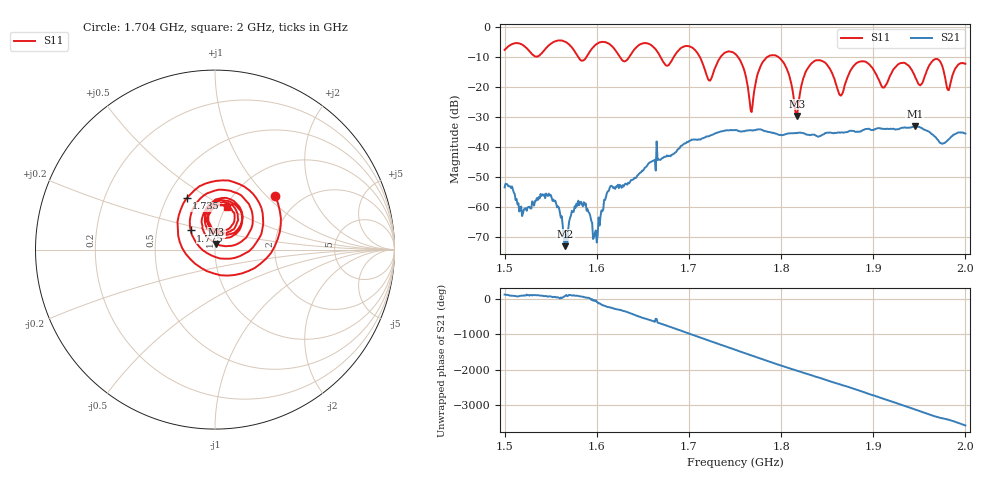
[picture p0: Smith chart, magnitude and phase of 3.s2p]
! NanoVNA-App by SYSJOINT et al v1.1.209 (+OD18)
! Date: 2026-01-21 14:44:47
! Start: 1,5GHz Stop: 2GHz Points: 501
! S-Parameter data: F S11 S21 S12 S22
# Hz S RI R 50
!  Frequency  S11_Real  S11_Imag  S21_Real  S21_Imag  S12_Real  S12_Imag  S22_Real  S22_Imag
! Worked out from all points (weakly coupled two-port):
!   501 points, 1.5 GHz to 2 GHz, reference 50 ohm
!   highest |S21| = -33.09 dB at 1.945 GHz (marker M1); lowest = -72.9 dB at 1.566 GHz (marker M2)
!   lowest |S11| = -29.7 dB at 1.817 GHz (marker M3), VSWR 1.07, Z = 50.7 + j3.23 ohm
!   |S11| at or under -10 dB: 1.712 GHz to 1.734 GHz (22.46 MHz wide, 1.3 % of centre); 1.753 GHz to 1.785 GHz (31.77 MHz wide, 1.8 % of centre); 1.797 GHz to end of sweep (the widest 3 of 6)
!   S12 and S22 are empty: the file has one direction only
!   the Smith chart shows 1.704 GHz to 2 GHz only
!   S11 on the Smith chart (normalised r, x): 1.704 GHz: 1.50, +1.13; 1.735 GHz: 0.63, +0.40; 1.775 GHz: 0.75, +0.16; 2 GHz: 1.02, +0.51
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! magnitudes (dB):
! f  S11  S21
! 1.5 GHz  -7.6  -53.4
! 1.518 GHz  -5.7  -59.8
! 1.549 GHz  -5.9  -56.1
! 1.566 GHz  -5.0  -72.9
! 1.584 GHz  -11.2  -59.1
! 1.598 GHz  -6.2  -68.5
! 1.614 GHz  -5.8  -53.6
! 1.667 GHz  -8.8  -44.1
! 1.704 GHz  -7.0  -37.5
! 1.722 GHz  -17.8  -36.3
! 1.735 GHz  -9.7  -34.7
! 1.75 GHz  -8.9  -34.3
! 1.767 GHz  -27.7  -34.4
! 1.775 GHz  -15.3  -34.1
! 1.799 GHz  -10.5  -36.0
! 1.817 GHz  -29.7  -35.2
! 1.834 GHz  -11.9  -35.8
! 1.865 GHz  -22.9  -35.1
! 1.885 GHz  -11.6  -34.8
! 1.917 GHz  -17.2  -33.9
! 1.945 GHz  -16.3  -33.1
! 2 GHz  -12.2  -35.5
